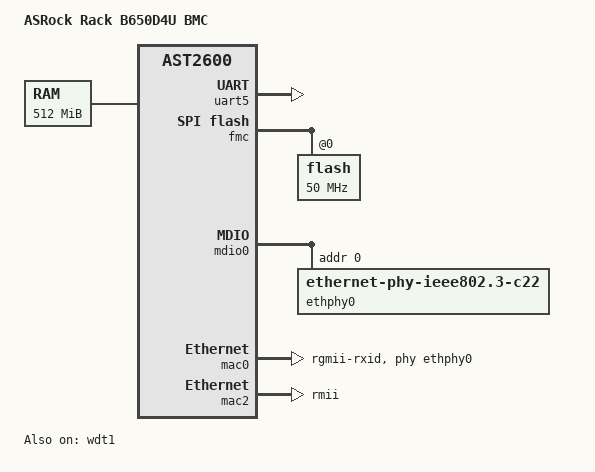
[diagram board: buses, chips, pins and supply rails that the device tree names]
// SPDX-License-Identifier: GPL-2.0+

/dts-v1/;

#include "ast2600-u-boot.dtsi"

/ {
	model = "ASRock Rack B650D4U BMC";
	compatible = "asrock,b650d4u-bmc", "aspeed,ast2600";

	memory {
		device_type = "memory";
		reg = <0x80000000 0x20000000>;
	};

	chosen {
		stdout-path = &uart5;
	};
};

&uart5 {
	bootph-all;
	status = "okay";
};

&sdrammc {
	clock-frequency = <400000000>;
};

&wdt1 {
	status = "okay";
};

&fmc {
	status = "okay";
	pinctrl-names = "default";
	pinctrl-0 = <&pinctrl_fmcquad_default>;

	flash@0 {
		status = "okay";
		spi-max-frequency = <50000000>;
		spi-tx-bus-width = <1>;
		spi-rx-bus-width = <4>;
	};
};

&mdio0 {
	status = "okay";
	#address-cells = <1>;
	#size-cells = <0>;

	ethphy0: ethernet-phy@0 {
		compatible = "ethernet-phy-ieee802.3-c22";
		reg = <0>;
	};
};

&mac0 {
	status = "okay";

	/* The PCB provides TX delay; the PHY provides RX delay. */
	phy-mode = "rgmii-rxid";
	phy-handle = <&ethphy0>;
	pinctrl-names = "default";
	pinctrl-0 = <&pinctrl_rgmii1_default>;
};

&mac2 {
	status = "okay";
	phy-mode = "rmii";
	use-ncsi;
	pinctrl-names = "default";
	pinctrl-0 = <&pinctrl_rmii3_default>;
};
